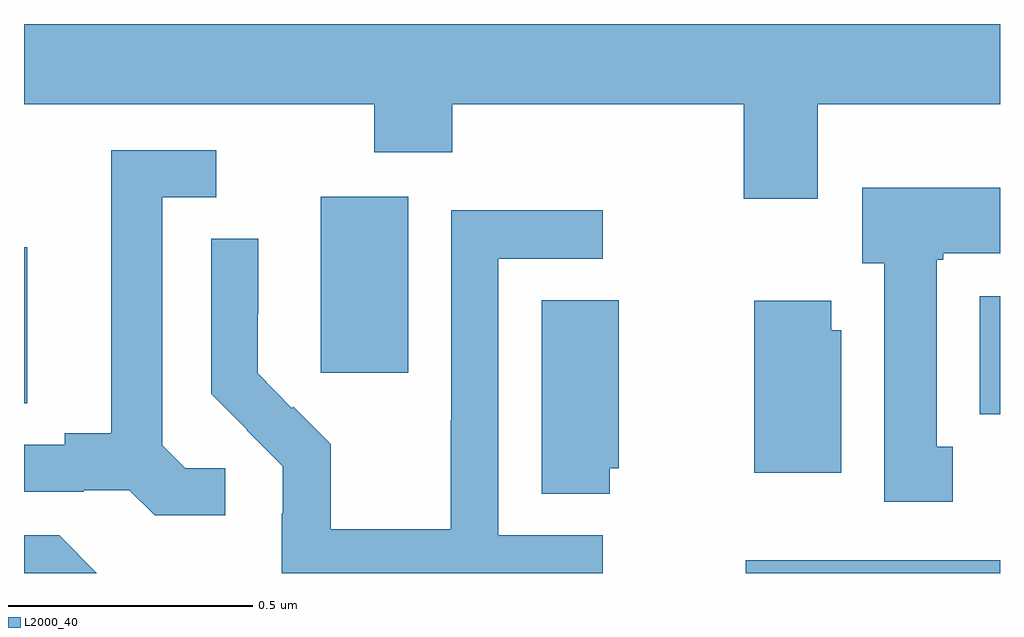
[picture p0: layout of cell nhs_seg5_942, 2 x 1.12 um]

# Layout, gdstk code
import gdstk
lib = gdstk.Library(unit=1e-6, precision=1e-09)
def R(c, l, rs):  # rectangles x0, y0, x1, y1
    for r in rs: c.add(gdstk.rectangle(r[:2], r[2:], *l))
def P(c, l, *ps):  # polygons
    for p in ps: c.add(gdstk.Polygon(p, *l))
L2000_40 = (2000, 40)

nhs_seg5_942 = lib.new_cell('nhs_seg5_942')
R(nhs_seg5_942, L2000_40, [(124.479,855.799,125,855.825), (124.958,856.124,125,856.366), (123,856.147,123.007,856.467), (123.608,856.209,123.787,856.57)])
P(nhs_seg5_942, L2000_40, [(124.627,856.76),(125,856.76),(125,856.924),(123,856.924),(123,856.76),(123.718,856.76),(123.718,856.661),(123.878,856.661),(123.878,856.76),(124.475,856.76),(124.475,856.566),(124.627,856.566)],
  [(123.412,856.014),(123.33,856.014),(123.283,856.061),(123.283,856.569),(123.394,856.569),(123.394,856.665),(123.179,856.665),(123.179,856.085),(123.083,856.085),(123.083,856.062),(123,856.062),(123,855.966),(123.122,855.966),(123.122,855.969),(123.216,855.969),(123.268,855.917),(123.412,855.917)],
  [(124.903,856.058),(124.87,856.058),(124.87,856.441),(124.884,856.441),(124.884,856.454),(125,856.454),(125,856.588),(124.718,856.588),(124.718,856.434),(124.763,856.434),(124.763,855.945),(124.903,855.945)],
  [(124.186,855.876),(123.972,855.876),(123.972,856.443),(124.186,856.443),(124.186,856.542),(123.876,856.542),(123.876,856.112),(123.874,856.112),(123.874,855.889),(123.629,855.889),(123.629,856.063),(123.552,856.14),(123.549,856.137),(123.479,856.208),(123.479,856.33),(123.48,856.33),(123.48,856.484),(123.384,856.484),(123.384,856.166),(123.457,856.093),(123.456,856.092),(123.53,856.018),(123.53,855.921),(123.528,855.921),(123.528,855.799),(124.186,855.799)],
  [(124.2,856.014),(124.219,856.014),(124.219,856.358),(124.061,856.358),(124.061,855.961),(124.2,855.961)],
  [(124.675,856.296),(124.654,856.296),(124.654,856.357),(124.496,856.357),(124.496,856.004),(124.675,856.004)],
  [(123.072,855.876),(123,855.876),(123,855.799),(123.149,855.799)])

lib.write_gds('nhs_seg5_942.gds')
